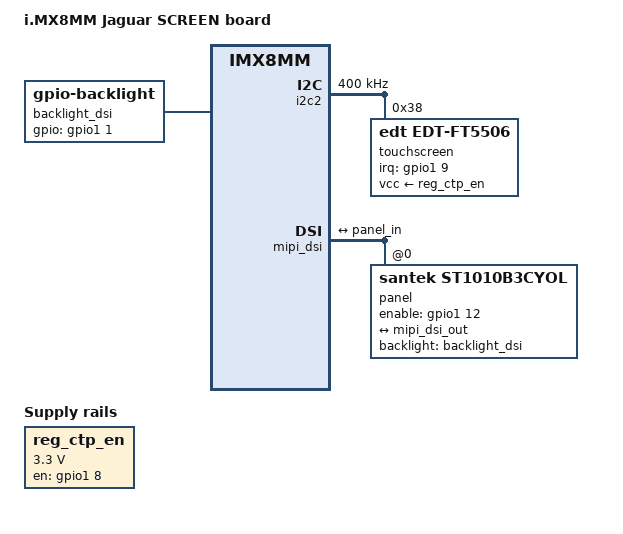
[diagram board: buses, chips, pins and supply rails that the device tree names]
// SPDX-License-Identifier: (GPL-2.0 OR MIT)
/*
 * Copyright 2020 NXP
 *
 * Dynamic Devices i.MX8MM Jaguar SCREEN (Active Screen / V3 Room Screen).
 *
 * Display (Michael Hull + SanTech Spec_ST1010B3CYOL-RSLW-C_RS02 + HX8279 init):
 *   native MIPI DSI 4-lane → Santek ST1010B3CYOL, panel IC Himax HX8279-D ×2.
 *   DRM mode: datasheet active 1200×1920 @60 Hz (mechanical WUXGA 1920×1200).
 *
 * CTP (2026-08-30 Michael): FocalTech FT5626 on hw I2C2;
 *   GPIO1_IO08 HI enable, GPIO1_IO09 IRQ. I2C addr 0x38 (FocalTech default).
 *
 * Backlight (2026-08-30 Michael): GPIO1_IO01 HI = max; PWM later on same pad.
 *
 * Ethernet: Microchip KSZ9131RNX (Micrel driver via PHY ID).
 *
 * SoT: lab-docs/displays/Spec_ST1010…pdf + HX8279 init TXT; schematic 202200.pdf.
 *
 * DTC notes (AESL LmP):
 *   - Use imx8mm-evk.dtsi `reg_vddext_3v3` — do not redefine it.
 *   - Delete pca9450@25 if unpatched imx8mm-evkb.dts left it alongside pmic@25
 *     (also apply linux 0004-dts-imx8mm-evkb-fix-duplicate-label.patch).
 */

#include "freescale/imx8mm-evkb.dts"
#include <dt-bindings/gpio/gpio.h>
#include <dt-bindings/interrupt-controller/irq.h>
#include <dt-bindings/leds/common.h>

/ {
	model = "i.MX8MM Jaguar SCREEN board";
	compatible = "fsl,imx8mm-jaguar-screen", "fsl,imx8mm-evk", "fsl,imx8mm";

	/*
	 * Backlight — GPIO1_IO01 HI = maximum brightness (Michael 2026-08-30).
	 * Same pad can be remuxed to PWM1 for dimming later; gpio-backlight for
	 * first light.
	 */
	backlight_dsi: backlight-dsi {
		compatible = "gpio-backlight";
		gpios = <&gpio1 1 GPIO_ACTIVE_HIGH>;
		default-on;
		pinctrl-names = "default";
		pinctrl-0 = <&pinctrl_dsi_bl>;
		status = "okay";
	};

	/* CTP power / enable — GPIO1_IO08 must be HI (Michael). */
	reg_ctp_en: regulator-ctp-en {
		compatible = "regulator-fixed";
		regulator-name = "ctp-en";
		regulator-min-microvolt = <3300000>;
		regulator-max-microvolt = <3300000>;
		gpio = <&gpio1 8 GPIO_ACTIVE_HIGH>;
		enable-active-high;
		regulator-boot-on;
		pinctrl-names = "default";
		pinctrl-0 = <&pinctrl_ctp_en>;
	};
};

/* Unpatched EVKB leaves pca9450@25 + pmic@25 → duplicate buck/ldo labels. */
&i2c1 {
	/delete-node/ pca9450@25;
};

/*
 * EVK ADV7535 DSI→HDMI is not the Active Screen path. Remove so &mipi_dsi
 * can be rewired to the HX8279-D panel. CTP FT5626 lives on this bus.
 */
&i2c2 {
	/delete-node/ hdmi@3d;

	clock-frequency = <400000>;
	status = "okay";

	touchscreen@38 {
		/* FT5626 silicon; LmP 6.6.52 edt-ft5x06 has edt,edt-ft5506 (no focaltech,ft5426). */
		compatible = "edt,edt-ft5506";
		reg = <0x38>;
		pinctrl-names = "default";
		pinctrl-0 = <&pinctrl_ctp_int>;
		interrupt-parent = <&gpio1>;
		interrupts = <9 IRQ_TYPE_EDGE_FALLING>;
		vcc-supply = <&reg_ctp_en>;
		/* Mechanical WUXGA landscape; native panel scan is 1200×1920. */
		touchscreen-size-x = <1920>;
		touchscreen-size-y = <1200>;
		status = "okay";
	};
};

/* EVK pwm-backlight node — replaced by gpio-backlight on GPIO1_IO01 for now. */
&backlight {
	status = "disabled";
};

&iomuxc {
	/*
	 * Display / CTP GPIOs (Michael Hull 2026-08-30 + schematic 202200.pdf):
	 *   GPIO1_IO01  backlight max (HI); PWM later
	 *   GPIO1_IO08  DSI_EN     — CTP enable (HI)
	 *   GPIO1_IO09  DSI_INT    — CTP interrupt
	 *   GPIO1_IO12  DSI_EN_2   — LCD load switch EN (TPS22913B); HI = LCD on
	 *
	 * MIPI DSI data: D0–D3 + CLK (4-lane) on SoC MIPI_DSI_* balls.
	 */
	pinctrl_dsi_bl: dsiblgrp {
		fsl,pins = <
			MX8MM_IOMUXC_GPIO1_IO01_GPIO1_IO1	0x116
		>;
	};

	pinctrl_dsi_lcd_en: dsilcdengrp {
		fsl,pins = <
			MX8MM_IOMUXC_GPIO1_IO12_GPIO1_IO12	0x116
		>;
	};

	pinctrl_ctp_en: ctpengrp {
		fsl,pins = <
			MX8MM_IOMUXC_GPIO1_IO08_GPIO1_IO8	0x116
		>;
	};

	pinctrl_ctp_int: ctpintrgrp {
		fsl,pins = <
			MX8MM_IOMUXC_GPIO1_IO09_GPIO1_IO9	0x16
		>;
	};
};

/*
 * Display — ST1010B3CYOL module, Himax HX8279-D
 *
 *   - Native MIPI DSI 4-lane (NOT LVDS).
 *   - Datasheet timing: 1200×1920 @60 Hz, ~156 MHz, 4 lanes (RS02 §4).
 *   - DSI_EN_2 (GPIO1_IO12) HI → LCD power path.
 *   - Init: HX8279-D vendor sequence via panel-boe-himax8279d.
 */
&mipi_dsi {
	#address-cells = <1>;
	#size-cells = <0>;
	status = "okay";

	panel@0 {
		compatible = "santek,st1010b3cyol", "himax,hx8279d";
		reg = <0>;
		status = "okay";
		pinctrl-names = "default";
		pinctrl-0 = <&pinctrl_dsi_lcd_en>;
		/* DSI_EN_2 → TPS22913B EN; active-high per Michael. */
		enable-gpios = <&gpio1 12 GPIO_ACTIVE_HIGH>;
		backlight = <&backlight_dsi>;

		port {
			panel_in: endpoint {
				remote-endpoint = <&mipi_dsi_out>;
			};
		};
	};

	ports {
		port@1 {
			reg = <1>;

			mipi_dsi_out: endpoint {
				remote-endpoint = <&panel_in>;
				data-lanes = <1 2 3 4>;
			};
		};
	};
};

/*
 * Ethernet — Microchip KSZ9131RNX on FEC RGMII (Michael 2026-08-30).
 * Keep EVK fec1 pinmux / reset; bind Micrel driver via PHY ID.
 */
&ethphy0 {
	compatible = "ethernet-phy-id0022.1640", "ethernet-phy-ieee802.3-c22";
	/delete-property/ qca,disable-smarteee;
};
